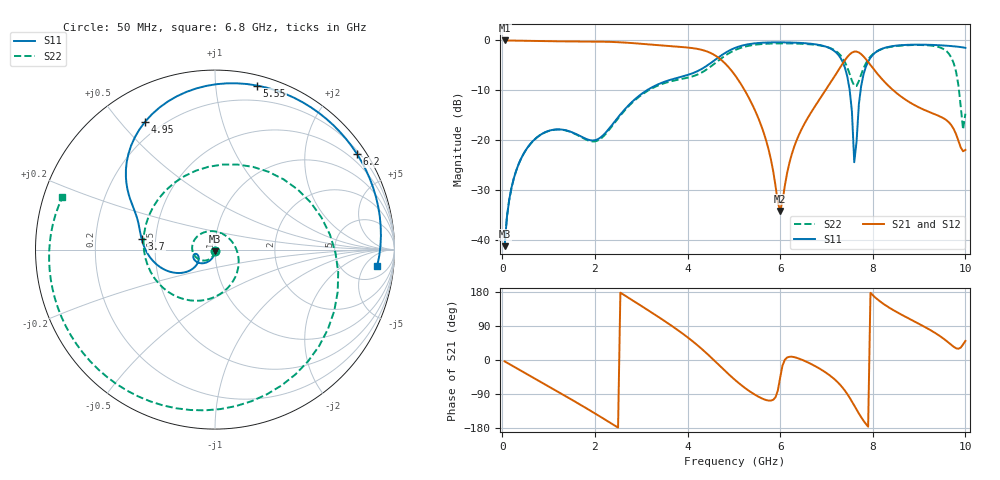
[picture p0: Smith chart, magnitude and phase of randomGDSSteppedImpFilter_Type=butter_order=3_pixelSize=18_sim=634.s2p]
! freq	dB(S11)	phase(S11)	dB(S12)	phase(S12)
!  dB(S21)	phase(S21)	dB(S22)	phase(S22)
!S-par simulation data
#  GHz  S  DB  R 50
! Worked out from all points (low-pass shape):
!   200 points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, 50 MHz to 10 GHz, reference 50 ohm
!   highest |S21| = -0.01 dB at 50 MHz (marker M1); lowest = -34.2 dB at 6 GHz (marker M2)
!   |S21| within 3 dB of the highest: start of sweep to 4.596 GHz; 7.481 GHz to 7.779 GHz (297.4 MHz wide, 3.9 % of centre)
!   lowest |S11| = -41.2 dB at 50 MHz (marker M3), VSWR 1.02, Z = 50 - j0.873 ohm
!   |S11| at or under -10 dB: start of sweep to 3.119 GHz; 7.502 GHz to 7.737 GHz (235.5 MHz wide, 3.09 % of centre)
!   |S22| runs from -41.2 to -0.6 dB; largest |S21 - S12| = 0
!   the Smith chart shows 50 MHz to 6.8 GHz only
!   S11 on the Smith chart (normalised r, x): 50 MHz: 1.00, -0.02; 3.7 GHz: 0.42, +0.06; 4.95 GHz: 0.14, +0.59; 5.55 GHz: 0.08, +1.29; 6.2 GHz: 0.28, +3.27; 6.8 GHz: 10, -10
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0.05  -41.18 -90.4  -0.01 -3.6  -0.01 -3.6  -41.19 -91.4
0.55  -21.38 -123.3  -0.09 -38.5  -0.09 -38.5  -21.40 -134.2
1.75  -19.47 -166.7  -0.20 -122.6  -0.20 -122.6  -19.58 100.8
2.55  -14.82 -140.2  -0.38 177.7  -0.38 177.7  -15.03 -46.2
3.4  -8.65 -174.7  -0.98 111.3  -0.98 111.3  -8.89 -143.6
3.7  -7.69 172.0  -1.19 86.7  -1.19 86.7  -8.05 -179.3
4.4  -5.18 149.2  -2.14 19.1  -2.14 19.1  -5.90 65.4
4.95  -1.80 118.6  -6.06 -44.5  -6.06 -44.5  -2.27 -35.2
5.05  -1.41 111.3  -7.29 -55.2  -7.29 -55.2  -1.83 -50.1
5.55  -0.50 75.6  -16.05 -98.1  -16.05 -98.1  -0.77 -108.6
6  -0.38 46.4  -34.17 -46.5  -34.17 -46.5  -0.59 -145.6
6.2  -0.41 33.8  -24.50 8.5  -24.50 8.5  -0.60 -159.6
6.7  -0.71 1.2  -13.94 -12.5  -13.94 -12.5  -0.82 167.7
6.8  -0.84 -5.9  -12.51 -19.1  -12.51 -19.1  -0.93 161.1
7.4  -5.50 -71.1  -3.94 -81.2  -3.94 -81.2  -4.36 116.6
7.6  -24.38 -140.5  -2.24 -120.1  -2.24 -120.1  -9.10 127.4
7.8  -6.81 36.5  -3.20 -160.2  -3.20 -160.2  -5.59 152.8
8.35  -1.27 -26.1  -9.19 138.5  -9.19 138.5  -1.36 115.3
9.1  -0.85 -72.7  -13.86 88.7  -13.86 88.7  -0.93 67.3
9.6  -1.06 -104.6  -16.03 49.6  -16.03 49.6  -2.22 19.1
9.85  -1.27 -124.7  -20.09 29.6  -20.09 29.6  -9.01 -41.0
10  -1.49 -139.7  -21.91 50.4  -21.91 50.4  -14.66 165.1
